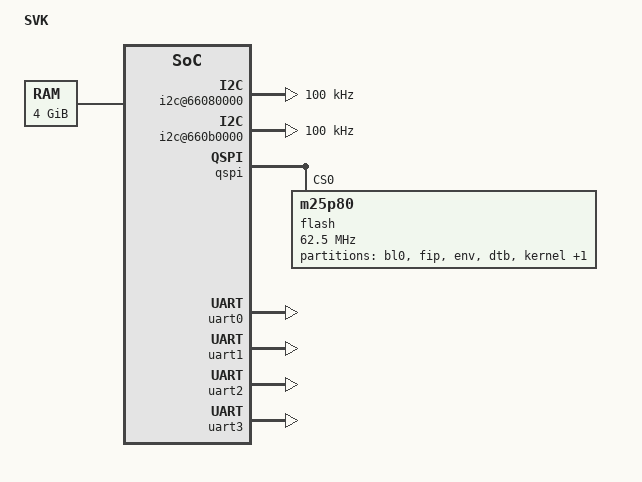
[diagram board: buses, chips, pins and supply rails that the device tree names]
/*
 * Copyright 2014-2015 Broadcom Corporation.  All rights reserved.
 *
 * Unless you and Broadcom execute a separate written software license
 * agreement governing use of this software, this software is licensed to you
 * under the terms of the GNU General Public License as
 * published by the Free Software Foundation version 2.
 *
 * This program is distributed "as is" WITHOUT ANY WARRANTY of any
 * kind, whether express or implied; without even the implied warranty
 * of MERCHANTABILITY or FITNESS FOR A PARTICULAR PURPOSE.  See the
 * GNU General Public License for more details.
 */

/dts-v1/;

#include "bcm_ns2.dtsi"

/ {
	model = "SVK";
	compatible = "bcm,ns2";

	chosen {
		bootargs = "maxcpus=4 console=ttyS0,115200n8 debug earlyprintk=uart8250-32bit,0x66130000 pci=pcie_bus_safe";
	};

	memory {
		device_type = "memory";
		reg = <0x000000000 0x80000000 0x00000001 0x00000000>;
	};

	i2c@66080000 {
		clock-frequency = <100000>;
		status = "okay";
	};

	i2c@660b0000 {
		clock-frequency = <100000>;
		status = "okay";
	};
};

&nand {
	partition@0 {
		label = "nboot";
		reg = <0x00000000 0x00280000>; /*  2.5MB */
		read-only;
	};
	partition@1 {
		label = "nenv";
		reg = <0x00280000 0x00040000>; /* 0.25MB */
	};
	partition@2 {
		label = "ndtb";
		reg = <0x002c0000 0x00040000>; /* 0.25MB */
	};
	partition@3 {
		label = "nsystem";
		reg = <0x00300000 0x03d00000>; /*   61MB */
	};
	partition@4 {
		label = "nrootfs";
		reg = <0x04000000 0x3c000000>; /*  960MB */
	};
};

&qspi {
        flash: m25p80@0 {
                #address-cells = <1>;
                #size-cells = <1>;
                compatible = "m25p80";
                spi-max-frequency = <62500000>;
                m25p,default-addr-width = <3>;
                reg = <0 0x0 0 0x0>;

                partition@0 {
                        label = "bl0";
                        reg = <0x00000000 0x00080000>; /*  512KB */
                };

                partition@1 {
                        label = "fip";
                        reg = <0x00080000 0x00150000>; /* 1344KB */
                };

                partition@2 {
                         label = "env";
                         reg = <0x001d0000 0x00020000>;/*  128KB */
                };

                partition@3 {
                        label = "dtb";
                        reg = <0x001F0000 0x00010000>; /*   64KB */
                };

                partition@4 {
                        label = "kernel";
                        reg = <0x00200000 0x00E00000>; /*   14MB */
                };

                partition@5 {
                        label = "rootfs";
                        reg = <0x01000000 0x01000000>; /*   16MB */
                };
	};
};

&uart0 {
	status = "ok";
};

&uart1 {
	status = "ok";
};

&uart2 {
	status = "ok";
};

&uart3 {
	status = "ok";
};

&sata_phy {
	aeq_override = <3>;
	cdr_restrict = <149>;
};
